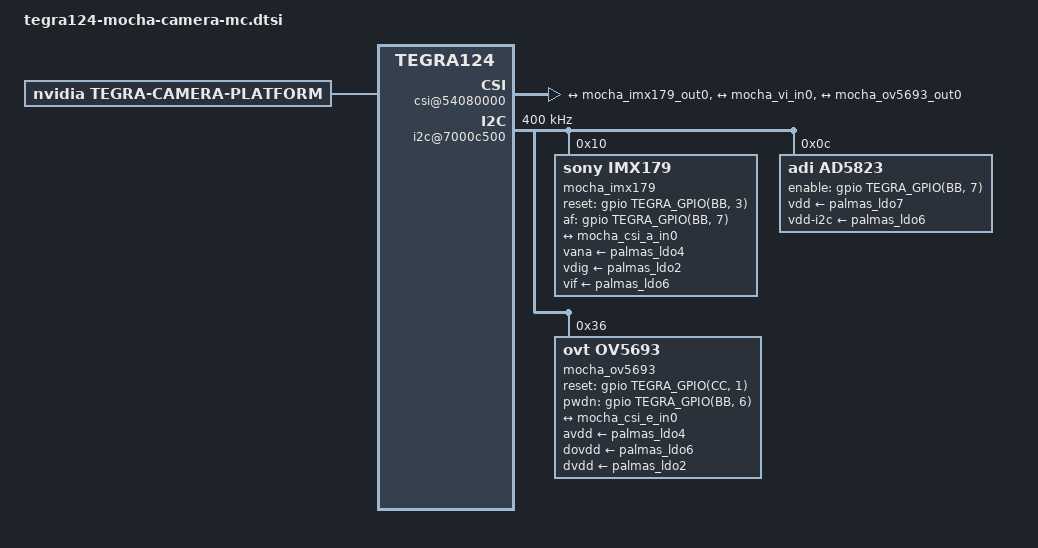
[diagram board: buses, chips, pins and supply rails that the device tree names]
/*
 * Copyright (c) 2025-2026, Smoke Team & Dargons10.  All rights reserved.
 *
 * This program is free software; you can redistribute it and/or modify it
 * under the terms and conditions of the GNU General Public License,
 * version 2, as published by the Free Software Foundation.
 *
 * Tegra124 Mocha (MiPad 1st Gen) Camera Device Tree Bindings
 * For V4L2 subdev framework using tegra_vi + imx179 + ov5693
 *
 * Hardware Configuration:
 * - Rear: IMX179 (8MP, RGGB) on CSI-A (4-lane), MCLK1, CAM I2C addr 0x10
 * - Front: OV5693 (5MP, BGGR) on CSI-E (1-lane), MCLK2, CAM I2C addr 0x36
 * - Focuser: AD5823 (CAM I2C addr 0x0c) - paired with IMX179
 *
 * I2C bus: i2c@7000c500 = adapter 2 (CAM)
 *
 * GPIO map:
 *   CAM_RSTN    = PBB3 = 219 - IMX179 reset
 *   CAM1_PWDN   = PBB5 = 221 - IMX179 power down
 *   CAM2_PWDN   = PBB6 = 222 - OV5693 power down
 *   CAM_AF_PWDN = PBB7 = 223 - AD5823 focuser enable
 *   CAM2_RSTN   = PCC1 = 225 - OV5693 reset
 *
 * Regulator map (from mocha PMIC e1736):
 *   LDO4 "avdd-cam"    2.7V -> vana(IMX179), avdd(OV5693)
 *   LDO2 "vdd-lcd-io"  1.8V -> vdig(IMX179), dvdd(OV5693)
 *   LDO6 "vdd-cam-af"  1.8V -> vif(IMX179), dovdd(OV5693), vdd_i2c(AD5823)
 *   LDO7 "avdd-cam-af" 2.7V -> imx179_reg1, vdd(AD5823)
 *   Fixed vdd_cam_1v8   1.8V -> Palmas GPIO1, SMPS8-derived
 *   Fixed vdd_cam_1v2   1.2V -> Palmas GPIO2, SMPS8-derived
 */

#include <dt-bindings/media/camera.h>
#include <dt-bindings/gpio/tegra-gpio.h>

/ {
    /*
     * Video Input (VI) - V4L2 capture device
     */
    host1x {
        vi@54080000 {
            compatible = "nvidia,mocha-vi";
            reg = <0x54080000 0x00040000>;
            interrupts = <0 69 0x04>;
            nvidia,memory-clients = <18>;
            clocks = <&tegra_car 20>, <&tegra_car 52>, <&tegra_car 92>, <&tegra_car 144>, <&tegra_car 146>;
            clock-names = "vi", "csi", "csus", "cilab", "cile";
            status = "okay";
            num-channels = <2>;

            ports {
                #address-cells = <1>;
                #size-cells = <0>;

                /* Channel 0: IMX179 rear via CSI-A */
                port@0 {
                    reg = <0>;
                    mocha_vi_in0: endpoint {
                        csi-port = <0>;
                        bus-width = <4>;
                        remote-endpoint = <&mocha_csi_a_out0>;
                    };
                };

                /* Channel 1: OV5693 front via CSI-E */
                port@1 {
                    reg = <1>;
                    mocha_vi_in1: endpoint {
                        csi-port = <1>;
                        bus-width = <1>;
                        remote-endpoint = <&mocha_csi_e_out0>;
                    };
                };
            };
        };

        /* CSI receiver with media controller endpoints */
        csi@54080000 {
            compatible = "nvidia,tegra124-csi";
            reg = <0x54080000 0x20000>;
            status = "okay";
            num-channels = <2>;

            ports {
                #address-cells = <1>;
                #size-cells = <0>;

                /* CSI-A input from IMX179 */
                port@0 {
                    reg = <0>;
                    mocha_csi_a_in0: endpoint {
                        remote-endpoint = <&mocha_imx179_out0>;
                        bus-width = <4>;
                        csi-port = <0>;
                    };
                };

                /* CSI-A output to VI channel 0 */
                port@1 {
                    reg = <1>;
                    mocha_csi_a_out0: endpoint {
                        remote-endpoint = <&mocha_vi_in0>;
                        csi-port = <0>;
                    };
                };

                /* CSI-E input from OV5693 */
                port@4 {
                    reg = <4>;
                    mocha_csi_e_in0: endpoint {
                        remote-endpoint = <&mocha_ov5693_out0>;
                        bus-width = <1>;
                        csi-port = <4>;
                    };
                };

                /* CSI-E output to VI channel 1 */
                port@5 {
                    reg = <5>;
                    mocha_csi_e_out0: endpoint {
                        remote-endpoint = <&mocha_vi_in1>;
                        csi-port = <4>;
                    };
                };
            };
        };

        /* ISP-A: paired with IMX179 rear camera */
        isp@54600000 {
            compatible = "nvidia,tegra124-isp";
            status = "okay";
            reg = <0x54600000 0x00040000>;
            interrupts = <0 71 0x04>;
            nvidia,memory-clients = <8 29>;
            ports {
                #address-cells = <1>;
                #size-cells = <0>;
                port@0 {
                    reg = <0>;
                    mocha_isp_a_out0: endpoint {
                        remote-endpoint = <&mocha_vi_in0>;
                    };
                };
            };
        };

        /* ISP-B: paired with OV5693 front camera */
        isp@54680000 {
            compatible = "nvidia,tegra124-isp";
            status = "okay";
            reg = <0x54680000 0x00040000>;
            interrupts = <0 72 0x04>;
            nvidia,memory-clients = <8 29>;
            ports {
                #address-cells = <1>;
                #size-cells = <0>;
                port@0 {
                    reg = <0>;
                    mocha_isp_b_out0: endpoint {
                        remote-endpoint = <&mocha_vi_in1>;
                    };
                };
            };
        };
    };

    /*
     * Camera sensors on CAM I2C (i2c@7000c500, adapter 2).
     */
    i2c@7000c500 {
        status = "okay";
        clock-frequency = <400000>;

        /* Rear camera: IMX179 8MP RGGB CSI-A 4-lane */
        mocha_imx179: imx179@10 {
            compatible = "sony,imx179";
            reg = <0x10>;
            status = "okay";

            /* Physical dimensions */
            physical_w = "3.674";
            physical_h = "2.738";
            sensor_model = "imx179";

            /* Clock */
            clocks = <&tegra_car 96>;
            clock-names = "mclk";
            assigned-clocks = <&tegra_car 96>;
            assigned-clock-rates = <24000000>;

            /* GPIOs */
            reset-gpios = <&gpio TEGRA_GPIO(BB, 3) GPIO_ACTIVE_HIGH>;
            af-gpios = <&gpio TEGRA_GPIO(BB, 7) GPIO_ACTIVE_HIGH>;

            /* Regulators */
            vana-supply = <&palmas_ldo4>;
            vdig-supply = <&palmas_ldo2>;
            vif-supply = <&palmas_ldo6>;
            /* PBB5 (pwdn-gpios in earlier DT) is NOT connected in hardware */

            /* CSI configuration */
            csi-port = <0>;
            num-lanes = <4>;

            ports {
                #address-cells = <1>;
                #size-cells = <0>;

                port@0 {
                    reg = <0>;
                    mocha_imx179_out0: endpoint {
                        csi-port = <0>;
                        bus-width = <4>;
                        remote-endpoint = <&mocha_csi_a_in0>;
                    };
                };
            };
        };

        /* Focuser: AD5823, paired with IMX179 */
        ad5823@0c {
            compatible = "adi,ad5823";
            reg = <0x0c>;
            status = "okay";

            enable-gpios = <&gpio TEGRA_GPIO(BB, 7) GPIO_ACTIVE_HIGH>;
            vdd-supply = <&palmas_ldo7>;
            vdd-i2c-supply = <&palmas_ldo6>;
        };

        /* Front camera: OV5693 5MP BGGR CSI-E 1-lane */
        mocha_ov5693: ov5693@36 {
            compatible = "ovt,ov5693";
            reg = <0x36>;
            status = "okay";

            /* Physical dimensions */
            physical_w = "3.674";
            physical_h = "2.738";
            sensor_model = "ov5693";

            /* Clock */
            clocks = <&tegra_car 97>;
            clock-names = "mclk";
            assigned-clocks = <&tegra_car 97>;
            assigned-clock-rates = <24000000>;

            /* GPIOs */
            reset-gpios = <&gpio TEGRA_GPIO(CC, 1) GPIO_ACTIVE_HIGH>;
            pwdn-gpios = <&gpio TEGRA_GPIO(BB, 6) GPIO_ACTIVE_HIGH>;

            /* Regulators */
            avdd-supply = <&palmas_ldo4>;
            dovdd-supply = <&palmas_ldo6>;
            dvdd-supply = <&palmas_ldo2>;

            /* CSI configuration */
            csi-port = <1>;
            num-lanes = <1>;

            ports {
                #address-cells = <1>;
                #size-cells = <0>;

                port@0 {
                    reg = <0>;
                    mocha_ov5693_out0: endpoint {
                        csi-port = <1>;
                        bus-width = <1>;
                        remote-endpoint = <&mocha_csi_e_in0>;
                    };
                };
            };
        };
    };

    /*
     * tegra-camera-platform: bandwidth management (legacy, kept for compatibility)
     */
    tegra-camera-platform {
        compatible = "nvidia,tegra-camera-platform";

        modules {
            module0 {
                badge = "mocha_rear_P8V27C";
                position = "rear";
                orientation = "1";
                drivernode0 {
                    pcl_id = "v4l2_sensor";
                    proc-device-tree = "/proc/device-tree/i2c@7000c500/imx179@10";
                };
                drivernode1 {
                    pcl_id = "v4l2_focuser";
                    proc-device-tree = "/proc/device-tree/i2c@7000c500/ad5823@0c";
                };
            };

            module1 {
                badge = "mocha_front_P5V27C";
                position = "front";
                orientation = "1";
                drivernode0 {
                    pcl_id = "v4l2_sensor";
                    proc-device-tree = "/proc/device-tree/i2c@7000c500/ov5693@36";
                };
            };
        };
    };
};
